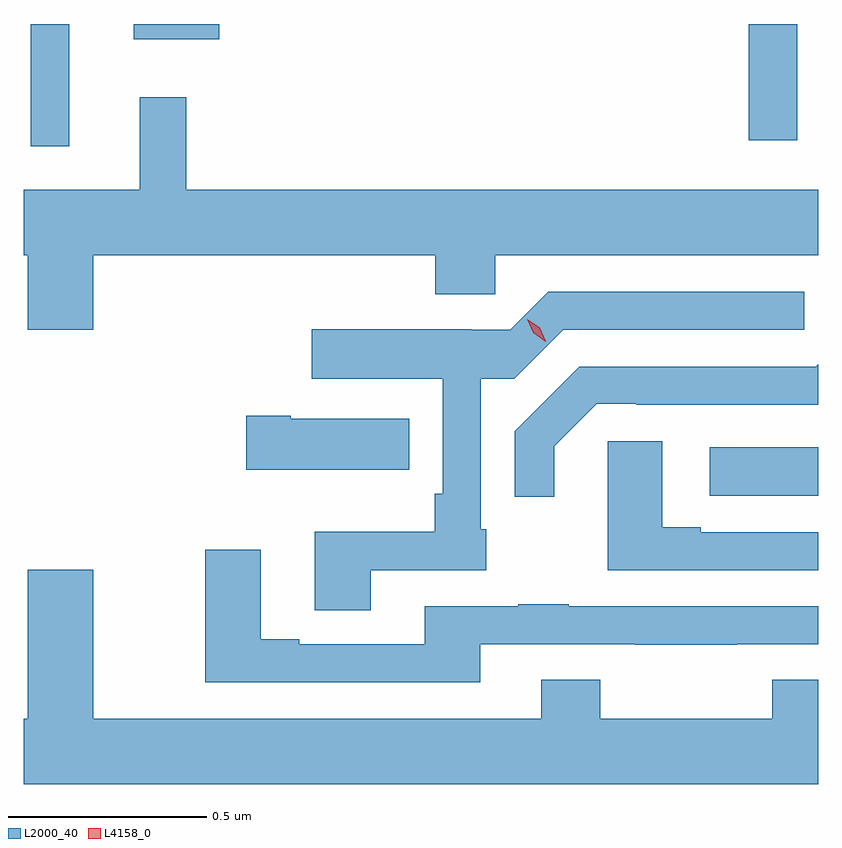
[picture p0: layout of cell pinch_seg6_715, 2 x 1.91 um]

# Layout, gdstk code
import gdstk
lib = gdstk.Library(unit=1e-6, precision=1e-09)
def R(c, l, rs):  # rectangles x0, y0, x1, y1
    for r in rs: c.add(gdstk.rectangle(r[:2], r[2:], *l))
def P(c, l, *ps):  # polygons
    for p in ps: c.add(gdstk.Polygon(p, *l))
L2000_40 = (2000, 40)
L4158_0 = (4158, 0)

pinch_seg6_715 = lib.new_cell('pinch_seg6_715')
R(pinch_seg6_715, L2000_40, [(478.413,928.082,478.686,928.204), (476.703,928.962,476.8,929.27), (478.512,928.977,478.633,929.27), (476.963,929.231,477.178,929.27)])
P(pinch_seg6_715, L2000_40, [(477.095,929.086),(476.978,929.086),(476.978,928.852),(476.686,928.852),(476.686,928.688),(476.696,928.688),(476.696,928.5),(476.86,928.5),(476.86,928.688),(477.722,928.688),(477.722,928.59),(477.873,928.59),(477.873,928.688),(478.686,928.688),(478.686,928.852),(477.095,928.852)],
  [(477.559,927.894),(477.85,927.894),(477.85,927.997),(477.837,927.997),(477.837,928.377),(477.921,928.377),(478.044,928.5),(478.651,928.5),(478.651,928.596),(478.007,928.596),(477.911,928.5),(477.812,928.5),(477.812,928.501),(477.411,928.501),(477.411,928.376),(477.741,928.376),(477.741,928.087),(477.721,928.087),(477.721,927.991),(477.419,927.991),(477.419,927.793),(477.559,927.793)],
  [(478.021,928.207),(478.128,928.314),(478.228,928.314),(478.228,928.311),(478.686,928.311),(478.686,928.413),(478.68,928.407),(478.085,928.407),(477.922,928.244),(477.922,928.08),(478.021,928.08)],
  [(477.656,928.276),(477.358,928.276),(477.358,928.284),(477.246,928.284),(477.246,928.148),(477.656,928.148)],
  [(478.686,927.99),(478.39,927.99),(478.39,928.003),(478.294,928.003),(478.294,928.219),(478.156,928.219),(478.156,927.894),(478.686,927.894)],
  [(477.835,927.708),(478.225,927.708),(478.225,927.707),(478.481,927.707),(478.481,927.708),(478.686,927.708),(478.686,927.804),(478.058,927.804),(478.058,927.809),(477.931,927.809),(477.931,927.804),(477.695,927.804),(477.695,927.708),(477.379,927.708),(477.379,927.721),(477.283,927.721),(477.283,927.946),(477.143,927.946),(477.143,927.612),(477.835,927.612)],
  [(478.686,927.619),(478.57,927.619),(478.57,927.52),(478.137,927.52),(478.137,927.619),(477.989,927.619),(477.989,927.52),(476.86,927.52),(476.86,927.895),(476.696,927.895),(476.696,927.52),(476.686,927.52),(476.686,927.356),(478.686,927.356)])
P(pinch_seg6_715, L4158_0, [(478,928.47),(477.969,928.492),(477.954,928.526),(477.954,928.526),(477.954,928.526),(477.985,928.505),(478,928.471),(478,928.47)])

lib.write_gds('pinch_seg6_715.gds')
